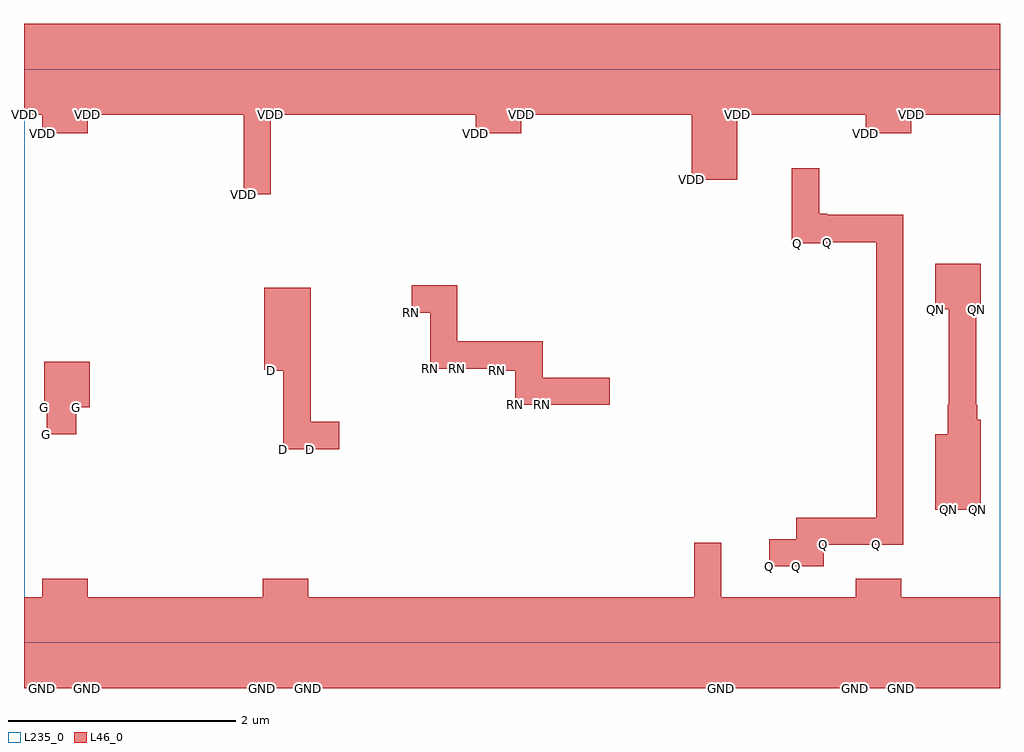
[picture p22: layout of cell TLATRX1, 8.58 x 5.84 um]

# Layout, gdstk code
import gdstk
lib = gdstk.Library(unit=1e-6, precision=1e-09)
def R(c, l, rs):  # rectangles x0, y0, x1, y1
    for r in rs: c.add(gdstk.rectangle(r[:2], r[2:], *l))
L46_0 = (46, 0)
L235_0 = (235, 0)

tlatrx1 = lib.new_cell('TLATRX1')
R(tlatrx1, L46_0, [(0,-0.4,0.16,0.4), (0.16,-0.4,0.56,0.56), (0.56,-0.4,2.1,0.4), (2.1,-0.4,2.5,0.56), (2.5,-0.4,5.89,0.4), (5.89,-0.4,6.13,0.88), (6.13,-0.4,7.31,0.4), (7.31,-0.4,7.71,0.56), (7.71,-0.4,8.58,0.4), (6.55,0.67,6.79,0.91), (6.79,0.67,7.03,1.1), (7.03,0.86,7.49,1.1), (7.49,0.86,7.73,3.76), (8.01,1.17,8.12,1.83), (8.12,1.17,8.13,2.09), (8.13,1.17,8.37,3.33), (8.37,1.17,8.38,2.09), (8.38,1.17,8.41,1.96), (2.28,1.7,2.52,3.12), (2.52,1.7,2.77,1.94), (0.2,1.83,0.46,2.47), (0.18,2.07,0.2,2.47), (0.46,2.07,0.58,2.47), (4.32,2.09,4.56,2.65), (4.56,2.09,5.15,2.33), (2.18,2.39,2.28,3.12), (4.16,2.39,4.32,2.65), (2.11,2.4,2.18,3.12), (3.57,2.41,3.81,3.14), (3.81,2.41,4.16,2.65), (3.41,2.9,3.57,3.14), (8.01,2.93,8.13,3.33), (8.37,2.93,8.41,3.33), (6.8,3.51,6.99,4.17), (6.99,3.51,7.06,3.77), (6.75,3.52,6.8,4.17), (7.06,3.52,7.49,3.76), (1.93,3.94,2.17,5.44), (5.87,4.07,6.27,5.44), (0.16,4.48,0.56,5.44), (3.97,4.48,4.37,5.44), (7.4,4.48,7.8,5.44), (0,4.64,0.16,5.44), (0.56,4.64,1.93,5.44), (2.17,4.64,3.97,5.44), (4.37,4.64,5.87,5.44), (6.27,4.64,7.4,5.44), (7.8,4.64,8.58,5.44)])
R(tlatrx1, L235_0, [(0,0,8.58,5.04)])
tlatrx1.add(gdstk.Label('RN', (4.56,2.09), layer=101, texttype=0))
tlatrx1.add(gdstk.Label('RN', (4.32,2.09), layer=101, texttype=0))
tlatrx1.add(gdstk.Label('RN', (4.16,2.39), layer=101, texttype=0))
tlatrx1.add(gdstk.Label('RN', (3.81,2.41), layer=101, texttype=0))
tlatrx1.add(gdstk.Label('RN', (3.57,2.41), layer=101, texttype=0))
tlatrx1.add(gdstk.Label('RN', (3.41,2.9), layer=101, texttype=0))
tlatrx1.add(gdstk.Label('QN', (8.38,1.17), layer=101, texttype=0))
tlatrx1.add(gdstk.Label('QN', (8.37,2.93), layer=101, texttype=0))
tlatrx1.add(gdstk.Label('QN', (8.37,1.17), layer=101, texttype=0))
tlatrx1.add(gdstk.Label('QN', (8.13,1.17), layer=101, texttype=0))
tlatrx1.add(gdstk.Label('QN', (8.12,1.17), layer=101, texttype=0))
tlatrx1.add(gdstk.Label('QN', (8.01,2.93), layer=101, texttype=0))
tlatrx1.add(gdstk.Label('QN', (8.01,1.17), layer=101, texttype=0))
tlatrx1.add(gdstk.Label('Q', (7.49,0.86), layer=101, texttype=0))
tlatrx1.add(gdstk.Label('Q', (7.03,0.86), layer=101, texttype=0))
tlatrx1.add(gdstk.Label('Q', (7.06,3.52), layer=101, texttype=0))
tlatrx1.add(gdstk.Label('Q', (6.99,3.51), layer=101, texttype=0))
tlatrx1.add(gdstk.Label('Q', (6.79,0.67), layer=101, texttype=0))
tlatrx1.add(gdstk.Label('Q', (6.8,3.51), layer=101, texttype=0))
tlatrx1.add(gdstk.Label('Q', (6.75,3.52), layer=101, texttype=0))
tlatrx1.add(gdstk.Label('Q', (6.55,0.67), layer=101, texttype=0))
tlatrx1.add(gdstk.Label('G', (0.46,2.07), layer=101, texttype=0))
tlatrx1.add(gdstk.Label('G', (0.2,1.83), layer=101, texttype=0))
tlatrx1.add(gdstk.Label('G', (0.18,2.07), layer=101, texttype=0))
tlatrx1.add(gdstk.Label('D', (2.52,1.7), layer=101, texttype=0))
tlatrx1.add(gdstk.Label('D', (2.28,1.7), layer=101, texttype=0))
tlatrx1.add(gdstk.Label('D', (2.18,2.39), layer=101, texttype=0))
tlatrx1.add(gdstk.Label('D', (2.11,2.4), layer=101, texttype=0))
tlatrx1.add(gdstk.Label('VDD', (7.8,4.64), layer=101, texttype=0))
tlatrx1.add(gdstk.Label('VDD', (7.4,4.48), layer=101, texttype=0))
tlatrx1.add(gdstk.Label('VDD', (6.27,4.64), layer=101, texttype=0))
tlatrx1.add(gdstk.Label('VDD', (5.87,4.07), layer=101, texttype=0))
tlatrx1.add(gdstk.Label('VDD', (4.37,4.64), layer=101, texttype=0))
tlatrx1.add(gdstk.Label('VDD', (3.97,4.48), layer=101, texttype=0))
tlatrx1.add(gdstk.Label('VDD', (2.17,4.64), layer=101, texttype=0))
tlatrx1.add(gdstk.Label('VDD', (1.93,3.94), layer=101, texttype=0))
tlatrx1.add(gdstk.Label('VDD', (0.56,4.64), layer=101, texttype=0))
tlatrx1.add(gdstk.Label('VDD', (0.16,4.48), layer=101, texttype=0))
tlatrx1.add(gdstk.Label('VDD', (0,4.64), layer=101, texttype=0))
tlatrx1.add(gdstk.Label('GND', (7.71,-0.4), layer=101, texttype=0))
tlatrx1.add(gdstk.Label('GND', (7.31,-0.4), layer=101, texttype=0))
tlatrx1.add(gdstk.Label('GND', (6.13,-0.4), layer=101, texttype=0))
tlatrx1.add(gdstk.Label('GND', (5.89,-0.4), layer=101, texttype=0))
tlatrx1.add(gdstk.Label('GND', (2.5,-0.4), layer=101, texttype=0))
tlatrx1.add(gdstk.Label('GND', (2.1,-0.4), layer=101, texttype=0))
tlatrx1.add(gdstk.Label('GND', (0.56,-0.4), layer=101, texttype=0))
tlatrx1.add(gdstk.Label('GND', (0.16,-0.4), layer=101, texttype=0))
tlatrx1.add(gdstk.Label('GND', (0,-0.4), layer=101, texttype=0))

lib.write_gds('TLATRX1.gds')
